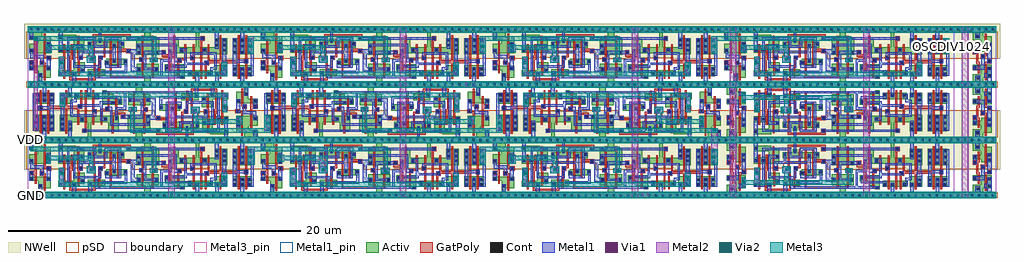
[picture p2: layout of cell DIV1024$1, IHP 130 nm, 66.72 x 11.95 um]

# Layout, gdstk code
from math import pi, radians
import gdstk
lib = gdstk.Library(unit=1e-6, precision=1e-09)
def R(c, l, rs):  # rectangles x0, y0, x1, y1
    for r in rs: c.add(gdstk.rectangle(r[:2], r[2:], *l))
def A(c, l, x, y, w, h, nx, ny, dx, dy):  # array of equal rectangles
    R(c, l, [(x+i*dx, y+j*dy, x+i*dx+w, y+j*dy+h) for i in range(nx) for j in range(ny)])
def P(c, l, *ps):  # polygons
    for p in ps: c.add(gdstk.Polygon(p, *l))
Activ = (1, 0)
GatPoly = (5, 0)
Cont = (6, 0)
Metal1 = (8, 0)
Metal1_pin = (8, 2)
Metal2 = (10, 0)
pSD = (14, 0)
Via1 = (19, 0)
Via2 = (29, 0)
Metal3 = (30, 0)
Metal3_pin = (30, 2)
NWell = (31, 0)
boundary = (189, 4)

sg13cmos5l_tiehi_1 = lib.new_cell('sg13cmos5l_tiehi$1')
P(sg13cmos5l_tiehi_1, Activ, [(0,-0.15),(0,0.15),(0.74,0.15),(0.74,0.975),(0.115,0.975),(0.115,1.275),(1.58,1.275),(1.58,0.48),(1.01,0.48),(1.01,0.15),(1.92,0.15),(1.92,-0.15)],
  [(0.115,2.145),(0.115,2.805),(0.705,2.805),(0.705,3.075),(0.115,3.075),(0.115,3.63),(0,3.63),(0,3.93),(1.92,3.93),(1.92,3.63),(1.02,3.63),(1.02,3.3),(1.58,3.3),(1.58,2.145)])
P(sg13cmos5l_tiehi_1, GatPoly, [(1.105,0.3),(1.105,1.345),(0.845,1.345),(0.845,1.645),(1.145,1.645),(1.145,1.49),(1.235,1.49),(1.235,0.3)],
  [(0.485,0.785),(0.485,1.355),(0.115,1.355),(0.115,1.655),(0.485,1.655),(0.485,2.995),(0.615,2.995),(0.615,0.785)],
  [(1.33,1.675),(1.33,1.83),(1.11,1.83),(1.11,3.49),(1.24,3.49),(1.24,1.975),(1.63,1.975),(1.63,1.675)])
R(sg13cmos5l_tiehi_1, Cont, [(0.16,-0.08,0.32,0.08), (0.16,-0.08,0.32,0.08), (0.64,-0.08,0.8,0.08), (0.64,-0.08,0.8,0.08), (1.12,-0.08,1.28,0.08), (1.12,-0.08,1.28,0.08), (1.6,-0.08,1.76,0.08), (1.6,-0.08,1.76,0.08), (0.81,0.55,0.97,0.71), (1.35,1.035,1.51,1.195), (0.185,1.045,0.345,1.205), (0.915,1.415,1.075,1.575), (0.185,1.425,0.345,1.585), (1.4,1.745,1.56,1.905), (1.35,2.215,1.51,2.375), (0.185,2.24,0.345,2.4), (1.35,2.655,1.51,2.815), (0.185,3.145,0.345,3.305), (0.16,3.7,0.32,3.86), (0.16,3.7,0.32,3.86), (0.64,3.7,0.8,3.86), (0.64,3.7,0.8,3.86), (1.12,3.7,1.28,3.86), (1.12,3.7,1.28,3.86), (1.6,3.7,1.76,3.86), (1.6,3.7,1.76,3.86)])
R(sg13cmos5l_tiehi_1, Metal1, [(1.3,0.985,1.575,1.955), (0.135,0.995,0.395,1.635), (1.3,2.165,1.585,2.91)])
P(sg13cmos5l_tiehi_1, Metal1, [(0.135,3.095),(0.135,3.56),(0,3.56),(0,4),(1.92,4),(1.92,3.56),(0.395,3.56),(0.395,3.095)],
  [(0,-0.22),(0,0.22),(0.76,0.22),(0.76,0.76),(1.02,0.76),(1.02,0.22),(1.92,0.22),(1.92,-0.22)],
  [(0.87,1.355),(0.87,1.815),(0.195,1.815),(0.195,2.19),(0.135,2.19),(0.135,2.45),(0.395,2.45),(0.395,2.03),(1.12,2.03),(1.12,1.355)])
R(sg13cmos5l_tiehi_1, Metal1_pin, [(0,-0.22,1.92,0.22), (1.3,2.165,1.585,2.91), (0,3.56,1.92,4)])
R(sg13cmos5l_tiehi_1, pSD, [(-0.07,-0.18,1.99,0.18), (-0.07,1.76,1.99,3.6)])
R(sg13cmos5l_tiehi_1, NWell, [(-0.24,1.75,2.16,4.17)])
R(sg13cmos5l_tiehi_1, boundary, [(0,0,1.92,3.78)])
sg13cmos5l_tiehi_1.add(gdstk.Label('VSS', (0.94,0), layer=8, texttype=25))
sg13cmos5l_tiehi_1.add(gdstk.Label('VDD', (0.985,3.785), layer=8, texttype=25))
sg13cmos5l_tiehi_1.add(gdstk.Label('L_HI', (1.443,2.52), layer=8, texttype=25))

sg13cmos5l_dfrbp_1_1 = lib.new_cell('sg13cmos5l_dfrbp_1$1')
R(sg13cmos5l_dfrbp_1_1, Activ, [(9.03,0.57,10.66,0.99), (10.87,0.57,11.725,1.31), (12.105,0.57,13.425,1.31), (2.215,0.635,3.4,1.055), (12.1,2.06,13.425,3.18), (0,3.63,13.92,3.93)])
P(sg13cmos5l_dfrbp_1_1, Activ, [(0.19,2.16),(0.19,2.58),(1.24,2.58),(1.24,3.01),(0.19,3.01),(0.19,3.395),(1.415,3.395),(1.415,3.16),(1.96,3.16),(1.96,2.16)],
  [(0.19,0.57),(0.19,0.99),(1.245,0.99),(1.245,1.535),(2,1.535),(2,0.795),(1.445,0.795),(1.445,0.57)],
  [(2.19,2.525),(2.19,2.945),(2.88,2.945),(2.88,3.14),(3.18,3.14),(3.18,2.945),(4.685,2.945),(4.685,2.525)],
  [(3.365,1.36),(3.365,1.66),(3.475,1.66),(3.475,1.78),(4.91,1.78),(4.91,1.36)],
  [(5.53,2.05),(5.53,3.17),(6.075,3.17),(6.075,3.63),(6.505,3.63),(6.505,3.17),(7.07,3.17),(7.07,2.05)],
  [(8.52,0.39),(8.52,0.635),(8.06,0.635),(8.06,0.955),(7.445,0.955),(7.445,1.375),(8.82,1.375),(8.82,0.39)],
  [(10.87,2.06),(10.87,2.145),(7.695,2.145),(7.695,3.145),(8.415,3.145),(8.415,2.565),(9.57,2.565),(9.57,3.63),(9.81,3.63),(9.81,2.565),(10.87,2.565),(10.87,3.18),(11.725,3.18),(11.725,2.06)],
  [(0,-0.15),(0,0.15),(6.075,0.15),(6.075,0.675),(5.535,0.675),(5.535,1.415),(7.045,1.415),(7.045,0.675),(6.505,0.675),(6.505,0.15),(13.92,0.15),(13.92,-0.15)])
R(sg13cmos5l_dfrbp_1_1, GatPoly, [(12.955,0.39,13.085,3.36), (12.87,1.445,13.17,1.745)])
P(sg13cmos5l_dfrbp_1_1, GatPoly, [(8.32,0.445),(8.32,1.805),(8.795,1.805),(8.795,2.745),(8.925,2.745),(8.925,1.66),(8.62,1.66),(8.62,1.505),(8.45,1.505),(8.45,0.445)],
  [(1.53,0.615),(1.53,1.685),(1.49,1.685),(1.49,3.34),(1.62,3.34),(1.62,1.985),(1.865,1.985),(1.865,1.685),(1.66,1.685),(1.66,0.615)],
  [(0.95,0.295),(0.95,1.98),(1.04,1.98),(1.04,2.76),(1.17,2.76),(1.17,1.685),(1.08,1.685),(1.08,0.43),(2.62,0.43),(2.62,1.685),(2.45,1.685),(2.45,1.985),(2.54,1.985),(2.54,3.435),(5.135,3.435),(5.135,3.005),(4.835,3.005),(4.835,3.305),(2.67,3.305),(2.67,1.985),(2.75,1.985),(2.75,0.295)],
  [(2.93,0.425),(2.93,1.985),(3.275,1.985),(3.275,3.125),(3.405,3.125),(3.405,1.855),(3.23,1.855),(3.23,1.685),(3.06,1.685),(3.06,0.425)],
  [(4.215,1.18),(4.215,3.125),(4.345,3.125),(4.345,2.44),(5.135,2.44),(5.135,2.14),(4.835,2.14),(4.835,2.29),(4.345,2.29),(4.345,1.18)],
  [(6.575,0.495),(6.575,3.35),(6.705,3.35),(6.705,1.855),(6.875,1.855),(6.875,1.555),(6.705,1.555),(6.705,0.495)],
  [(7.785,0.765),(7.785,1.92),(7.245,1.92),(7.245,2.35),(7.545,2.35),(7.545,2.07),(8.035,2.07),(8.035,3.325),(8.165,3.325),(8.165,1.92),(7.915,1.92),(7.915,0.765)],
  [(9.37,0.39),(9.37,1.67),(9.2,1.67),(9.2,1.97),(9.37,1.97),(9.37,2.745),(9.5,2.745),(9.5,0.39)],
  [(10.19,0.39),(10.19,1.635),(10.39,1.635),(10.39,2.745),(10.52,2.745),(10.52,1.635),(11.21,1.635),(11.21,3.36),(11.34,3.36),(11.34,1.635),(12.445,1.635),(12.445,3.36),(12.575,3.36),(12.575,0.39),(12.445,0.39),(12.445,1.45),(11.34,1.45),(11.34,0.39),(11.21,0.39),(11.21,1.45),(10.49,1.45),(10.49,1.335),(10.32,1.335),(10.32,0.39)],
  [(0.53,0.39),(0.53,1.455),(0.235,1.455),(0.235,1.755),(0.53,1.755),(0.53,2.76),(0.66,2.76),(0.66,0.39)],
  [(3.705,0.465),(3.705,3.125),(3.835,3.125),(3.835,0.605),(5.875,0.605),(5.875,1.555),(5.705,1.555),(5.705,1.855),(5.875,1.855),(5.875,3.35),(6.005,3.35),(6.005,0.465)],
  [(9.88,0.39),(9.88,3.305),(10.18,3.305),(10.18,3.005),(10.01,3.005),(10.01,0.39)])
A(sg13cmos5l_dfrbp_1_1, Cont, 0.16, -0.08, 0.16, 0.16, 29, 2, 0.48, 3.78)
A(sg13cmos5l_dfrbp_1_1, Cont, 10.43, 0.64, 0.16, 0.16, 3, 1, 0.51, 0)
A(sg13cmos5l_dfrbp_1_1, Cont, 12.175, 0.64, 0.16, 0.16, 3, 2, 0.51, 0.34)
A(sg13cmos5l_dfrbp_1_1, Cont, 12.17, 2.135, 0.16, 0.16, 1, 3, 0, 0.405)
A(sg13cmos5l_dfrbp_1_1, Cont, 12.685, 2.135, 0.16, 0.16, 1, 3, 0, 0.405)
A(sg13cmos5l_dfrbp_1_1, Cont, 13.195, 2.135, 0.16, 0.16, 1, 3, 0, 0.405)
A(sg13cmos5l_dfrbp_1_1, Cont, 11.45, 2.27, 0.16, 0.16, 1, 3, 0, 0.34)
R(sg13cmos5l_dfrbp_1_1, Cont, [(8.59,0.465,8.75,0.625), (0.26,0.64,0.42,0.8), (1.19,0.64,1.35,0.8), (9.1,0.64,9.26,0.8), (9.61,0.64,9.77,0.8), (2.285,0.705,2.445,0.865), (3.17,0.795,3.33,0.955), (1.77,0.88,1.93,1.04), (5.605,0.97,5.765,1.13), (6.815,0.97,6.975,1.13), (11.45,0.98,11.61,1.14), (7.515,1.075,7.675,1.235), (8.025,1.145,8.185,1.305), (10.26,1.405,10.42,1.565), (3.435,1.43,3.595,1.59), (4.68,1.49,4.84,1.65), (12.94,1.515,13.1,1.675), (0.305,1.525,0.465,1.685), (3.945,1.55,4.105,1.71), (8.39,1.575,8.55,1.735), (5.775,1.625,5.935,1.785), (6.645,1.625,6.805,1.785), (9.27,1.74,9.43,1.9), (1.635,1.755,1.795,1.915), (2.52,1.755,2.68,1.915), (3,1.755,3.16,1.915), (5.6,2.12,5.76,2.28), (6.84,2.12,7,2.28), (7.315,2.12,7.475,2.28), (4.905,2.21,5.065,2.37), (7.765,2.215,7.925,2.375), (8.525,2.275,8.685,2.435), (10.12,2.275,10.28,2.435), (0.26,2.29,0.42,2.45), (0.77,2.29,0.93,2.45), (5.6,2.54,5.76,2.7), (1.73,2.55,1.89,2.71), (3.945,2.595,4.105,2.755), (10.94,2.61,11.1,2.77), (2.26,2.69,2.42,2.85), (4.455,2.705,4.615,2.865), (2.95,2.91,3.11,3.07), (10.94,2.95,11.1,3.11), (4.905,3.075,5.065,3.235), (9.95,3.075,10.11,3.235), (0.265,3.12,0.425,3.28)])
R(sg13cmos5l_dfrbp_1_1, Metal1, [(0.255,1.07,0.6,1.89), (2.145,1.51,2.75,1.965), (6.45,1.52,6.99,1.84)])
P(sg13cmos5l_dfrbp_1_1, Metal1, [(2.705,0.44),(2.705,1.15),(1.98,1.15),(1.98,0.815),(1.72,0.815),(1.72,1.15),(1.2,1.15),(1.2,2.76),(1.94,2.76),(1.94,2.5),(1.36,2.5),(1.36,1.31),(2.95,1.31),(2.95,1.965),(3.21,1.965),(3.21,1.705),(3.11,1.705),(3.11,1.15),(2.875,1.15),(2.875,0.605),(7.17,0.605),(7.17,1.725),(7.745,1.725),(7.745,2.425),(7.935,2.425),(7.935,1.555),(7.33,1.555),(7.33,0.605),(8.54,0.605),(8.54,0.625),(8.8,0.625),(8.8,0.44)],
  [(3.895,1.5),(3.895,2.145),(1.845,2.145),(1.845,1.705),(1.585,1.705),(1.585,2.305),(2.245,2.305),(2.245,2.9),(2.425,2.9),(2.425,2.315),(3.895,2.315),(3.895,2.805),(4.115,2.805),(4.115,1.5)],
  [(3.12,0.785),(3.12,0.96),(4.725,0.96),(4.725,1.44),(4.66,1.44),(4.66,1.7),(4.905,1.7),(4.905,0.785)],
  [(9.05,0.59),(9.05,0.805),(7.51,0.805),(7.51,1.31),(7.725,1.31),(7.725,0.965),(9.31,0.965),(9.31,0.59)],
  [(7.96,1.145),(7.96,1.315),(8.79,1.315),(8.79,2.225),(8.475,2.225),(8.475,2.485),(8.95,2.485),(8.95,1.51),(10.165,1.51),(10.165,1.625),(10.47,1.625),(10.47,1.35),(8.97,1.35),(8.97,1.145)],
  [(11.4,0.59),(11.4,0.99),(11.34,0.99),(11.34,1.52),(11.4,1.52),(11.4,3.155),(11.66,3.155),(11.66,1.52),(11.725,1.52),(11.725,0.99),(11.66,0.99),(11.66,0.59)],
  [(12.63,2.1),(12.63,3.56),(11.15,3.56),(11.15,2.46),(10.89,2.46),(10.89,3.56),(3.115,3.56),(3.115,2.86),(2.945,2.86),(2.945,3.56),(0.475,3.56),(0.475,2.24),(0.215,2.24),(0.215,3.56),(0,3.56),(0,4),(13.92,4),(13.92,3.56),(12.9,3.56),(12.9,2.1)],
  [(5.145,0.92),(5.145,2.16),(4.855,2.16),(4.855,2.42),(5.55,2.42),(5.55,2.8),(8.275,2.8),(8.275,1.785),(8.6,1.785),(8.6,1.525),(8.115,1.525),(8.115,2.63),(5.81,2.63),(5.81,2.07),(5.42,2.07),(5.42,1.18),(5.815,1.18),(5.815,0.92)],
  [(0,-0.22),(0,0.22),(1.14,0.22),(1.14,0.85),(1.41,0.85),(1.41,0.22),(2.235,0.22),(2.235,0.915),(2.495,0.915),(2.495,0.22),(9.56,0.22),(9.56,0.85),(9.82,0.85),(9.82,0.22),(10.91,0.22),(10.91,0.85),(11.15,0.85),(11.15,0.22),(12.635,0.22),(12.635,1.19),(12.895,1.19),(12.895,0.22),(13.92,0.22),(13.92,-0.22)],
  [(0.21,0.59),(0.21,0.85),(0.785,0.85),(0.785,2.24),(0.72,2.24),(0.72,2.5),(0.785,2.5),(0.785,3.24),(2.765,3.24),(2.765,2.68),(3.365,2.68),(3.365,3.24),(4.505,3.24),(4.505,2.915),(4.665,2.915),(4.665,2.655),(4.48,2.655),(4.48,1.16),(3.385,1.16),(3.385,1.64),(3.645,1.64),(3.645,1.32),(4.32,1.32),(4.32,3.08),(3.535,3.08),(3.535,2.52),(2.605,2.52),(2.605,3.08),(0.95,3.08),(0.95,2.5),(0.98,2.5),(0.98,2.24),(0.95,2.24),(0.95,0.59)],
  [(6.755,0.92),(6.755,0.98),(6.02,0.98),(6.02,1.575),(5.725,1.575),(5.725,1.835),(6.02,1.835),(6.02,2.33),(7.525,2.33),(7.525,2.07),(6.18,2.07),(6.18,1.14),(6.755,1.14),(6.755,1.18),(6.99,1.18),(6.99,0.92)],
  [(4.855,3.025),(4.855,3.285),(5.115,3.285),(5.115,3.235),(9.91,3.235),(9.91,3.285),(10.16,3.285),(10.16,3.025),(9.91,3.025),(9.91,3.075),(5.115,3.075),(5.115,3.025)],
  [(13.125,0.59),(13.125,1.19),(13.35,1.19),(13.35,2.095),(13.145,2.095),(13.145,3.155),(13.56,3.155),(13.56,0.59)],
  [(12.125,0.59),(12.125,3.155),(12.385,3.155),(12.385,1.71),(12.87,1.71),(12.87,1.745),(13.17,1.745),(13.17,1.445),(12.87,1.445),(12.87,1.485),(12.385,1.485),(12.385,0.59)],
  [(10.38,0.625),(10.38,0.885),(10.57,0.885),(10.57,1.19),(10.84,1.19),(10.84,2.035),(9.48,2.035),(9.48,1.69),(9.22,1.69),(9.22,2.195),(10.07,2.195),(10.07,2.495),(10.33,2.495),(10.33,2.195),(11,2.195),(11,1.03),(10.73,1.03),(10.73,0.625)])
R(sg13cmos5l_dfrbp_1_1, Metal1_pin, [(0,-0.22,13.92,0.22), (11.34,0.99,11.725,1.52), (0.255,1.07,0.6,1.89), (2.145,1.51,2.75,1.965), (6.45,1.52,6.99,1.84), (13.145,2.095,13.56,3.155), (0,3.56,13.92,4)])
R(sg13cmos5l_dfrbp_1_1, pSD, [(-0.07,-0.18,14,0.18)])
P(sg13cmos5l_dfrbp_1_1, pSD, [(10.555,1.66),(10.555,1.76),(7.245,1.76),(7.245,1.75),(5.23,1.75),(5.23,2.225),(2.255,2.225),(2.255,1.835),(0.945,1.835),(0.945,1.76),(-0.07,1.76),(-0.07,3.6),(14,3.6),(14,1.76),(12.56,1.76),(12.56,1.66)])
P(sg13cmos5l_dfrbp_1_1, NWell, [(5.22,1.74),(5.22,2.215),(2.27,2.215),(2.27,1.85),(0.935,1.85),(0.935,1.75),(-0.24,1.75),(-0.24,4.17),(14.16,4.17),(14.16,1.75),(10.655,1.75),(10.655,1.835),(7.315,1.835),(7.315,1.74)])
R(sg13cmos5l_dfrbp_1_1, boundary, [(0,0,13.92,3.78)])
sg13cmos5l_dfrbp_1_1.add(gdstk.Label('VDD', (2.085,3.79), layer=8, texttype=25))
sg13cmos5l_dfrbp_1_1.add(gdstk.Label('RESET_B', (2.385,1.73), layer=8, texttype=25))
sg13cmos5l_dfrbp_1_1.add(gdstk.Label('Q', (13.34,2.61), layer=8, texttype=25))
sg13cmos5l_dfrbp_1_1.add(gdstk.Label('Q_N', (11.56,1.295), layer=8, texttype=25))
sg13cmos5l_dfrbp_1_1.add(gdstk.Label('D', (0.325,1.53), layer=8, texttype=25))
sg13cmos5l_dfrbp_1_1.add(gdstk.Label('VSS', (6.77,0), layer=8, texttype=25))
sg13cmos5l_dfrbp_1_1.add(gdstk.Label('CLK', (6.69,1.655), layer=8, texttype=25))

via_stack = lib.new_cell('via_stack')
R(via_stack, Metal1, [(-0.145,-0.105,0.145,0.105)])
R(via_stack, Metal2, [(-0.145,-0.1,0.145,0.1)])
R(via_stack, Via1, [(-0.095,-0.095,0.095,0.095)])
R(via_stack, Via2, [(-0.095,-0.095,0.095,0.095)])
R(via_stack, Metal3, [(-0.145,-0.1,0.145,0.1)])

via_stack_1 = lib.new_cell('via_stack$1')
R(via_stack_1, Metal2, [(-0.145,-0.1,0.145,0.1)])
R(via_stack_1, Via2, [(-0.095,-0.095,0.095,0.095)])
R(via_stack_1, Metal3, [(-0.145,-0.1,0.145,0.1)])

sg13cmos5l_tielo = lib.new_cell('sg13cmos5l_tielo')
P(sg13cmos5l_tielo, Activ, [(0,-0.15),(0,0.15),(0.295,0.15),(0.295,0.705),(0.835,0.705),(0.835,0.975),(0.295,0.975),(0.295,1.36),(1.585,1.36),(1.585,0.48),(1.015,0.48),(1.015,0.15),(1.92,0.15),(1.92,-0.15)],
  [(0.885,2.255),(0.885,2.47),(0.295,2.47),(0.295,2.77),(0.855,2.77),(0.855,3.04),(0.295,3.04),(0.295,3.63),(0,3.63),(0,3.93),(1.92,3.93),(1.92,3.63),(1.015,3.63),(1.015,3.3),(1.585,3.3),(1.585,2.255)])
P(sg13cmos5l_tielo, GatPoly, [(0.635,0.785),(0.635,1.44),(0.545,1.44),(0.545,2.09),(0.295,2.09),(0.295,2.39),(0.635,2.39),(0.635,2.96),(0.765,2.96),(0.765,2.26),(0.675,2.26),(0.675,1.57),(0.765,1.57),(0.765,0.785)],
  [(0.855,1.78),(0.855,2.08),(1.115,2.08),(1.115,3.49),(1.245,3.49),(1.245,1.935),(1.155,1.935),(1.155,1.815),(1.15,1.815),(1.15,1.81),(1.145,1.81),(1.145,1.805),(1.14,1.805),(1.14,1.8),(1.135,1.8),(1.135,1.795),(1.13,1.795),(1.13,1.79),(1.125,1.79),(1.125,1.785),(1.12,1.785),(1.12,1.78)],
  [(1.115,0.29),(1.115,1.57),(1.3,1.57),(1.3,1.705),(1.305,1.705),(1.305,1.71),(1.31,1.71),(1.31,1.715),(1.315,1.715),(1.315,1.72),(1.32,1.72),(1.32,1.725),(1.325,1.725),(1.325,1.73),(1.33,1.73),(1.33,1.735),(1.335,1.735),(1.335,1.74),(1.6,1.74),(1.6,1.44),(1.245,1.44),(1.245,0.29)])
R(sg13cmos5l_tielo, Cont, [(0.16,-0.08,0.32,0.08), (0.16,-0.08,0.32,0.08), (0.64,-0.08,0.8,0.08), (0.64,-0.08,0.8,0.08), (1.12,-0.08,1.28,0.08), (1.12,-0.08,1.28,0.08), (1.6,-0.08,1.76,0.08), (1.6,-0.08,1.76,0.08), (0.57,0.355,0.73,0.515), (1.355,0.55,1.515,0.71), (1.355,1.03,1.515,1.19), (0.365,1.09,0.525,1.25), (1.37,1.51,1.53,1.67), (0.925,1.85,1.085,2.01), (0.365,2.16,0.525,2.32), (1.355,2.325,1.515,2.485), (0.365,2.54,0.525,2.7), (1.355,2.665,1.515,2.825), (0.54,3.22,0.7,3.38), (0.16,3.7,0.32,3.86), (0.16,3.7,0.32,3.86), (0.64,3.7,0.8,3.86), (0.64,3.7,0.8,3.86), (1.12,3.7,1.28,3.86), (1.12,3.7,1.28,3.86), (1.6,3.7,1.76,3.86), (1.6,3.7,1.76,3.86)])
R(sg13cmos5l_tielo, Metal1, [(1.305,1.46,1.58,2.875), (0.315,2.11,0.575,2.76)])
P(sg13cmos5l_tielo, Metal1, [(0.315,1.03),(0.315,1.29),(0.875,1.29),(0.875,2.06),(1.115,2.06),(1.115,1.03)],
  [(0,-0.22),(0,0.22),(0.465,0.22),(0.465,0.605),(0.815,0.605),(0.815,0.22),(1.92,0.22),(1.92,-0.22)],
  [(0.455,3.165),(0.455,3.56),(0,3.56),(0,4),(1.92,4),(1.92,3.56),(0.78,3.56),(0.78,3.165)],
  [(1.095,0.485),(1.095,0.775),(1.295,0.775),(1.295,1.23),(1.585,1.23),(1.585,0.485)])
R(sg13cmos5l_tielo, Metal1_pin, [(0,-0.22,1.92,0.22), (1.295,0.485,1.585,1.23), (0,3.56,1.92,4)])
R(sg13cmos5l_tielo, pSD, [(-0.07,-0.18,1.99,0.18), (-0.07,1.76,1.99,3.6)])
R(sg13cmos5l_tielo, NWell, [(-0.24,1.75,2.16,4.17)])
R(sg13cmos5l_tielo, boundary, [(0,0,1.92,3.78)])
sg13cmos5l_tielo.add(gdstk.Label('VSS', (0.94,0), layer=8, texttype=25))
sg13cmos5l_tielo.add(gdstk.Label('VDD', (0.985,3.785), layer=8, texttype=25))
sg13cmos5l_tielo.add(gdstk.Label('L_LO', (1.435,1.02), layer=8, texttype=25))

via_stack_4 = lib.new_cell('via_stack$4')
R(via_stack_4, Metal1, [(-0.105,-0.35,0.105,0.35)])
R(via_stack_4, Metal2, [(-0.1,-0.35,0.1,0.35)])
R(via_stack_4, Via1, [(-0.095,-0.3,0.095,-0.11), (-0.095,0.11,0.095,0.3)])
R(via_stack_4, Via2, [(-0.095,-0.3,0.095,-0.11), (-0.095,0.11,0.095,0.3)])
R(via_stack_4, Metal3, [(-0.1,-0.35,0.1,0.35)])

via_stack_3 = lib.new_cell('via_stack$3')
R(via_stack_3, Metal1, [(-0.35,-0.105,0.35,0.105)])
R(via_stack_3, Metal2, [(-0.35,-0.1,0.35,0.1)])
R(via_stack_3, Via1, [(-0.3,-0.095,-0.11,0.095), (0.11,-0.095,0.3,0.095)])
R(via_stack_3, Via2, [(-0.3,-0.095,-0.11,0.095), (0.11,-0.095,0.3,0.095)])
R(via_stack_3, Metal3, [(-0.35,-0.1,0.35,0.1)])

via_stack_2 = lib.new_cell('via_stack$2')
R(via_stack_2, Metal1, [(-0.145,-0.105,0.145,0.105)])
R(via_stack_2, Metal2, [(-0.145,-0.1,0.145,0.1)])
R(via_stack_2, Via1, [(-0.095,-0.095,0.095,0.095)])

div1024_1 = lib.new_cell('DIV1024$1')
A(div1024_1, Activ, 63.6, 0.07, 0.96, 0.3, 1, 4, 0, 3.78)
A(div1024_1, Cont, 63.76, 0.14, 0.16, 0.16, 1, 4, 0, 3.78)
A(div1024_1, Cont, 64.24, 0.14, 0.16, 0.16, 1, 4, 0, 3.78)
A(div1024_1, Metal1, 63.6, 0, 0.96, 0.44, 1, 4, 0, 3.78)
R(div1024_1, Metal1, [(65.855,0,66.145,1.45), (51.74,5.815,52.44,6.27), (65.855,6.55,66.145,9.01)])
A(div1024_1, Metal1_pin, 63.6, 0, 0.96, 0.44, 1, 4, 0, 3.78)
A(div1024_1, Metal2, 13.5, 0.79, 0.385, 0.95, 3, 1, 15.84, 0)
A(div1024_1, Metal2, 11.41, 5.815, 0.605, 0.455, 3, 1, 15.84, 0)
A(div1024_1, Metal2, 13.56, 5.89, 0.345, 1.32, 3, 1, 15.84, 0)
A(div1024_1, Metal2, 7.17, 5.94, 0.54, 0.32, 3, 1, 15.84, 0)
A(div1024_1, Metal2, 2.435, 6.26, 0.385, 0.95, 3, 1, 15.84, 0)
A(div1024_1, Metal2, 2.37, 8.35, 0.39, 1.32, 3, 1, 15.84, 0)
A(div1024_1, Metal2, 13.5, 8.35, 0.385, 0.95, 4, 1, 15.84, 0)
A(div1024_1, Metal2, 4.305, 9.29, 0.605, 0.455, 4, 1, 15.84, 0)
A(div1024_1, Metal2, 8.61, 9.3, 0.54, 0.32, 4, 1, 15.84, 0)
A(div1024_1, Metal2, 15.305, 9.875, 0.415, 1.205, 3, 1, 15.84, 0)
R(div1024_1, Metal2, [(49.055,0.705,49.345,1.45), (2.37,0.79,2.76,2.11), (18.16,0.79,18.66,2.11), (34.05,0.79,34.44,2.11), (49.935,0.95,50.28,2.11), (18.16,1.29,18.66,2.11), (24.4,1.7,25,2.1), (4.305,1.73,4.91,2.185), (20.145,1.73,20.75,2.9), (35.985,1.73,36.59,2.185), (51.825,1.73,52.43,2.185), (8.61,1.74,9.15,2.06), (40.29,1.74,40.83,2.06), (56.13,1.74,56.67,2.06), (15.305,2.315,15.76,3.52), (31.145,2.315,31.56,3.52), (1.52,2.385,1.825,3), (33.1,2.385,33.6,3), (17.3,2.5,17.8,3), (16.44,4.48,16.855,5.685), (32.28,4.48,32.695,5.685), (46.175,5.015,46.485,5.615), (14.495,5.05,14.95,5.615), (30.335,5.055,30.8,5.615), (51.74,5.815,52.44,6.27), (49.935,5.89,50.28,6.75), (56.07,5.9,56.7,6.3), (49.055,6.55,49.345,7.295), (30.2,7.56,30.895,8), (49.935,8.35,50.28,9.67), (62.825,9.875,63.24,10.935), (17.305,9.945,17.7,10.55), (33.065,9.945,33.6,10.545), (49,9.945,49.4,10.5), (1.47,9.95,1.9,10.525)])
R(div1024_1, pSD, [(63.68,0.04,64.49,0.4), (63.68,1.98,64.49,3.82), (63.68,4.18,64.49,6.02), (63.68,7.6,64.49,7.96), (63.68,9.54,64.49,11.38)])
A(div1024_1, Metal3, 13.5, 0.79, 0.385, 0.95, 3, 1, 15.84, 0)
A(div1024_1, Metal3, 11.41, 5.815, 0.605, 0.455, 3, 1, 15.84, 0)
A(div1024_1, Metal3, 13.56, 5.89, 0.345, 1.32, 3, 1, 15.84, 0)
A(div1024_1, Metal3, 7.17, 5.94, 0.54, 0.32, 3, 1, 15.84, 0)
A(div1024_1, Metal3, 2.435, 6.26, 0.385, 0.95, 3, 1, 15.84, 0)
A(div1024_1, Metal3, 2.37, 8.35, 0.39, 1.32, 3, 1, 15.84, 0)
A(div1024_1, Metal3, 13.5, 8.35, 0.385, 0.95, 4, 1, 15.84, 0)
A(div1024_1, Metal3, 4.305, 9.29, 0.605, 0.455, 4, 1, 15.84, 0)
A(div1024_1, Metal3, 8.61, 9.3, 0.54, 0.32, 4, 1, 15.84, 0)
A(div1024_1, Metal3, 15.305, 9.875, 0.415, 1.205, 3, 1, 15.84, 0)
R(div1024_1, Metal3, [(47.76,0,66.48,0.44), (49.055,0.705,49.345,1.45), (2.37,0.79,2.76,2.11), (18.16,0.79,18.66,2.11), (34.05,0.79,34.44,2.11), (49.935,0.95,50.28,2.11), (18.16,1.29,18.66,2.11), (24.4,1.7,25,2.1), (4.305,1.73,4.91,2.185), (20.145,1.73,20.75,2.9), (35.985,1.73,36.59,2.185), (51.825,1.73,52.43,2.185), (8.61,1.74,9.15,2.06), (40.29,1.74,40.835,2.06), (56.13,1.74,56.67,2.06), (15.305,2.315,15.76,3.52), (31.145,2.315,31.56,3.52), (46.97,2.315,47.41,3.375), (1.52,2.385,1.825,3), (33.1,2.385,33.6,3), (17.3,2.5,17.8,3), (47.76,3.78,66.48,4.22), (16.44,4.48,16.855,5.685), (32.28,4.48,32.695,5.685), (46.175,5.015,46.485,5.615), (14.495,5.05,14.95,5.615), (30.335,5.055,30.8,5.615), (51.74,5.815,52.44,6.27), (49.935,5.89,50.28,6.75), (56.07,5.9,56.7,6.3), (49.055,6.55,49.345,7.295), (63.6,7.56,66.48,8), (49.935,8.35,50.28,9.67), (62.825,9.875,63.24,10.935), (1.47,9.945,1.9,10.525), (17.305,9.945,17.7,10.55), (33.065,9.945,33.6,10.545), (49,9.945,49.4,10.5), (63.6,11.34,66.48,11.78)])
R(div1024_1, Metal3_pin, [(0.24,0,66.48,0.44), (0.42,3.22,0.9,3.52), (0.24,3.78,66.48,4.22), (0.24,7.56,63.6,8), (63.6,7.56,66.48,8), (63.3,10.25,63.6,10.55), (0.24,11.34,63.6,11.78), (63.6,11.34,66.48,11.78)])
R(div1024_1, NWell, [(63.84,1.97,64.32,4.39), (63.84,3.61,64.32,6.03), (63.84,9.53,64.32,11.95)])
div1024_1.add(gdstk.FlexPath([(64.32,11.78),(64.32,0),(64.32,0)], 0.44, ends="flush", simple_path=True, layer=10, datatype=0))  # Metal2
div1024_1.add(gdstk.FlexPath([(48.46,11.78),(48.46,0),(48.46,0)], 0.44, ends="flush", simple_path=True, layer=10, datatype=0))  # Metal2
div1024_1.add(gdstk.FlexPath([(10.08,11.78),(10.08,0),(10.08,0)], 0.44, ends="flush", simple_path=True, layer=10, datatype=0))  # Metal2
div1024_1.add(gdstk.FlexPath([(25.92,11.78),(25.92,0)], 0.44, ends="flush", simple_path=True, layer=10, datatype=0))  # Metal2
div1024_1.add(gdstk.FlexPath([(41.76,11.78),(41.76,0),(41.76,0)], 0.44, ends="flush", simple_path=True, layer=10, datatype=0))  # Metal2
div1024_1.add(gdstk.FlexPath([(57.6,11.78),(57.6,0)], 0.44, ends="flush", simple_path=True, layer=10, datatype=0))  # Metal2
div1024_1.add(gdstk.FlexPath([(42.46,0.44),(42.46,0)], 0.44, ends="flush", simple_path=True, layer=10, datatype=0))  # Metal2
div1024_1.add(gdstk.FlexPath([(47.19,2.315),(47.19,4.78)], 0.44, ends="flush", simple_path=True, layer=10, datatype=0))  # Metal2
div1024_1.add(gdstk.FlexPath([(0.8,4.625),(0.8,11.08),(0.8,11.08),(0.8,11.08),(0.8,11.08)], 0.3, ends="flush", simple_path=True, layer=10, datatype=0))  # Metal2
div1024_1.add(gdstk.FlexPath([(49.055,1.1),(52.125,1.1),(52.125,2.185)], 0.3, ends="flush", simple_path=True, layer=30, datatype=0))  # Metal3
div1024_1.add(gdstk.FlexPath([(49.055,1.1),(50.11,1.1),(50.11,2.11)], 0.3, ends="flush", simple_path=True, layer=30, datatype=0))  # Metal3
div1024_1.add(gdstk.FlexPath([(49.055,6.9),(52.125,6.9),(52.125,5.815)], 0.3, ends="flush", simple_path=True, layer=30, datatype=0))  # Metal3
div1024_1.add(gdstk.FlexPath([(49.055,6.9),(50.11,6.9),(50.11,5.89)], 0.3, ends="flush", simple_path=True, layer=30, datatype=0))  # Metal3
div1024_1.add(gdstk.FlexPath([(52.125,1.1),(56.41,1.1),(56.41,2.06)], 0.3, ends="flush", simple_path=True, layer=30, datatype=0))  # Metal3
div1024_1.add(gdstk.FlexPath([(52.125,6.9),(56.41,6.9),(56.41,5.94)], 0.3, ends="flush", simple_path=True, layer=30, datatype=0))  # Metal3
div1024_1.add(gdstk.FlexPath([(63.6,10.4),(62.825,10.4)], 0.3, ends="flush", simple_path=True, layer=30, datatype=0))  # Metal3
div1024_1.add(gdstk.FlexPath([(0.24,4),(47.76,4)], 0.44, ends="flush", simple_path=True, layer=30, datatype=0))  # Metal3
div1024_1.add(gdstk.FlexPath([(0.24,11.56),(63.6,11.56)], 0.44, ends="flush", simple_path=True, layer=30, datatype=0))  # Metal3
div1024_1.add(gdstk.FlexPath([(63.6,7.78),(0.24,7.78)], 0.44, ends="flush", simple_path=True, layer=30, datatype=0))  # Metal3
div1024_1.add(gdstk.FlexPath([(47.76,0.22),(0.24,0.22)], 0.44, ends="flush", simple_path=True, layer=30, datatype=0))  # Metal3
div1024_1.add(gdstk.FlexPath([(39.115,6.26),(39.115,4.63),(47.41,4.63)], 0.3, ends="flush", simple_path=True, layer=30, datatype=0))  # Metal3
div1024_1.add(gdstk.FlexPath([(8.89,1.74),(8.89,3.37),(0.42,3.37)], 0.3, ends="flush", simple_path=True, layer=30, datatype=0))  # Metal3
div1024_1.add(gdstk.FlexPath([(34.275,2.11),(34.275,0.94),(45.385,0.94),(45.385,1.74)], 0.3, ends="flush", simple_path=True, layer=30, datatype=0))  # Metal3
div1024_1.add(gdstk.FlexPath([(2.585,2.11),(2.585,0.94),(13.695,0.94),(13.695,1.74)], 0.3, ends="flush", simple_path=True, layer=30, datatype=0))  # Metal3
div1024_1.add(gdstk.FlexPath([(4.6,1.73),(4.6,2.75),(1.535,2.75)], 0.3, ends="flush", simple_path=True, layer=30, datatype=0))  # Metal3
div1024_1.add(gdstk.FlexPath([(18.425,2.11),(18.425,0.94),(29.535,0.94),(29.535,1.74)], 0.3, ends="flush", simple_path=True, layer=30, datatype=0))  # Metal3
div1024_1.add(gdstk.FlexPath([(20.44,1.73),(20.44,2.75),(17.375,2.75)], 0.3, ends="flush", simple_path=True, layer=30, datatype=0))  # Metal3
div1024_1.add(gdstk.FlexPath([(36.29,1.73),(36.29,2.75),(33.225,2.75)], 0.3, ends="flush", simple_path=True, layer=30, datatype=0))  # Metal3
div1024_1.add(gdstk.FlexPath([(15.525,2.315),(15.525,3.37),(24.73,3.37),(24.73,1.74),(24.73,1.74)], 0.3, ends="flush", simple_path=True, layer=30, datatype=0))  # Metal3
div1024_1.add(gdstk.FlexPath([(31.375,2.315),(31.375,3.37),(40.58,3.37),(40.58,1.74),(40.58,1.74)], 0.3, ends="flush", simple_path=True, layer=30, datatype=0))  # Metal3
div1024_1.add(gdstk.FlexPath([(2.585,9.67),(2.585,8.5),(13.695,8.5),(13.695,9.3)], 0.3, ends="flush", simple_path=True, layer=30, datatype=0))  # Metal3
div1024_1.add(gdstk.FlexPath([(4.6,9.29),(4.6,10.31),(1.535,10.31)], 0.3, ends="flush", simple_path=True, layer=30, datatype=0))  # Metal3
div1024_1.add(gdstk.FlexPath([(18.425,9.67),(18.425,8.5),(29.535,8.5),(29.535,9.3)], 0.3, ends="flush", simple_path=True, layer=30, datatype=0))  # Metal3
div1024_1.add(gdstk.FlexPath([(20.44,9.29),(20.44,10.31),(17.375,10.31)], 0.3, ends="flush", simple_path=True, layer=30, datatype=0))  # Metal3
div1024_1.add(gdstk.FlexPath([(15.525,9.875),(15.525,10.93),(24.73,10.93),(24.73,9.3),(24.73,9.3)], 0.3, ends="flush", simple_path=True, layer=30, datatype=0))  # Metal3
div1024_1.add(gdstk.FlexPath([(34.26,9.67),(34.26,8.5),(45.37,8.5),(45.37,9.3)], 0.3, ends="flush", simple_path=True, layer=30, datatype=0))  # Metal3
div1024_1.add(gdstk.FlexPath([(36.275,9.29),(36.275,10.31),(33.21,10.31)], 0.3, ends="flush", simple_path=True, layer=30, datatype=0))  # Metal3
div1024_1.add(gdstk.FlexPath([(31.36,9.875),(31.36,10.93),(40.565,10.93),(40.565,9.3),(40.565,9.3)], 0.3, ends="flush", simple_path=True, layer=30, datatype=0))  # Metal3
div1024_1.add(gdstk.FlexPath([(50.1,9.67),(50.1,8.5),(61.21,8.5),(61.21,9.3)], 0.3, ends="flush", simple_path=True, layer=30, datatype=0))  # Metal3
div1024_1.add(gdstk.FlexPath([(52.115,9.29),(52.115,10.31),(49.05,10.31)], 0.3, ends="flush", simple_path=True, layer=30, datatype=0))  # Metal3
div1024_1.add(gdstk.FlexPath([(47.2,9.875),(47.2,10.93),(56.405,10.93),(56.405,9.3),(56.405,9.3)], 0.3, ends="flush", simple_path=True, layer=30, datatype=0))  # Metal3
div1024_1.add(gdstk.FlexPath([(45.42,5.89),(45.42,7.06),(34.31,7.06),(34.31,6.26)], 0.3, ends="flush", simple_path=True, layer=30, datatype=0))  # Metal3
div1024_1.add(gdstk.FlexPath([(43.405,6.27),(43.405,5.25),(46.47,5.25)], 0.3, ends="flush", simple_path=True, layer=30, datatype=0))  # Metal3
div1024_1.add(gdstk.FlexPath([(8.89,9.3),(8.89,10.93),(0.65,10.93)], 0.3, ends="flush", simple_path=True, layer=30, datatype=0))  # Metal3
div1024_1.add(gdstk.FlexPath([(29.58,5.89),(29.58,7.06),(18.47,7.06),(18.47,6.26)], 0.3, ends="flush", simple_path=True, layer=30, datatype=0))  # Metal3
div1024_1.add(gdstk.FlexPath([(27.565,6.27),(27.565,5.25),(30.63,5.25)], 0.3, ends="flush", simple_path=True, layer=30, datatype=0))  # Metal3
div1024_1.add(gdstk.FlexPath([(32.48,5.685),(32.48,4.63),(23.275,4.63),(23.275,6.26),(23.275,6.26)], 0.3, ends="flush", simple_path=True, layer=30, datatype=0))  # Metal3
div1024_1.add(gdstk.FlexPath([(13.735,5.89),(13.735,7.06),(2.625,7.06),(2.625,6.26)], 0.3, ends="flush", simple_path=True, layer=30, datatype=0))  # Metal3
div1024_1.add(gdstk.FlexPath([(11.72,6.27),(11.72,5.25),(14.785,5.25)], 0.3, ends="flush", simple_path=True, layer=30, datatype=0))  # Metal3
div1024_1.add(gdstk.FlexPath([(16.635,5.685),(16.635,4.63),(7.43,4.63),(7.43,6.26),(7.43,6.26)], 0.3, ends="flush", simple_path=True, layer=30, datatype=0))  # Metal3
div1024_1.add(gdstk.Reference(sg13cmos5l_tiehi_1, (31.92,0.22)))
div1024_1.add(gdstk.Reference(sg13cmos5l_dfrbp_1_1, (45.84,7.78), rotation=pi))
div1024_1.add(gdstk.Reference(sg13cmos5l_tiehi_1, (31.92,7.78)))
div1024_1.add(gdstk.Reference(via_stack, (33.37,2.75)))
div1024_1.add(gdstk.Reference(via_stack, (33.355,10.31)))
div1024_1.add(gdstk.Reference(sg13cmos5l_tiehi_1, (47.76,7.78), rotation=pi))
div1024_1.add(gdstk.Reference(via_stack, (45.38,1.465)))
div1024_1.add(gdstk.Reference(via_stack, (34.27,1.7)))
div1024_1.add(gdstk.Reference(via_stack, (40.565,9.46)))
div1024_1.add(gdstk.Reference(via_stack, (36.27,9.51)))
div1024_1.add(gdstk.Reference(sg13cmos5l_dfrbp_1_1, (33.84,0.22)))
div1024_1.add(gdstk.Reference(via_stack, (45.365,9.025)))
div1024_1.add(gdstk.Reference(via_stack, (34.255,9.26)))
div1024_1.add(gdstk.Reference(via_stack, (56.405,9.46)))
div1024_1.add(gdstk.Reference(via_stack, (52.11,9.51)))
div1024_1.add(gdstk.Reference(via_stack, (49.195,10.31)))
div1024_1.add(gdstk.Reference(via_stack, (61.205,9.025)))
div1024_1.add(gdstk.Reference(via_stack, (50.095,9.26)))
div1024_1.add(gdstk.Reference(via_stack, (47.2,10.41)))
div1024_1.add(gdstk.Reference(via_stack, (39.115,6.1), rotation=pi))
div1024_1.add(gdstk.Reference(via_stack, (43.41,6.05), rotation=pi))
div1024_1.add(gdstk.Reference(via_stack, (46.325,5.25), rotation=pi))
div1024_1.add(gdstk.Reference(via_stack, (34.315,6.535), rotation=pi))
div1024_1.add(gdstk.Reference(via_stack, (45.425,6.3), rotation=pi))
div1024_1.add(gdstk.Reference(via_stack, (47.195,2.825)))
div1024_1.add(gdstk.Reference(via_stack, (63.055,10.4)))
div1024_1.add(gdstk.Reference(via_stack, (41.76,0.22)))
div1024_1.add(gdstk.Reference(via_stack, (41.76,7.78)))
div1024_1.add(gdstk.Reference(via_stack, (57.6,7.78)))
div1024_1.add(gdstk.Reference(via_stack, (57.6,0.22)))
div1024_1.add(gdstk.Reference(via_stack_1, (47.19,4.63)))
div1024_1.add(gdstk.Reference(sg13cmos5l_tiehi_1, (47.76,7.78)))
div1024_1.add(gdstk.Reference(sg13cmos5l_dfrbp_1_1, (49.68,7.78)))
div1024_1.add(gdstk.Reference(sg13cmos5l_dfrbp_1_1, (33.84,7.78)))
div1024_1.add(gdstk.Reference(sg13cmos5l_dfrbp_1_1, (49.68,7.78), x_reflection=True))
div1024_1.add(gdstk.Reference(sg13cmos5l_dfrbp_1_1, (49.68,0.22)))
div1024_1.add(gdstk.Reference(sg13cmos5l_tielo, (47.76,7.78), x_reflection=True))
div1024_1.add(gdstk.Reference(sg13cmos5l_tielo, (47.76,0.22)))
div1024_1.add(gdstk.Reference(via_stack, (48.46,4), rotation=pi))
div1024_1.add(gdstk.Reference(via_stack, (48.46,11.56), rotation=pi))
div1024_1.add(gdstk.Reference(via_stack, (49.2,1.095)))
div1024_1.add(gdstk.Reference(via_stack, (50.11,1.7)))
div1024_1.add(gdstk.Reference(via_stack, (52.125,1.975)))
r = gdstk.Reference(via_stack_4, (49.205,6.9)); r.repetition = gdstk.Repetition(1, 1, v1=(0,0), v2=(0,0)); div1024_1.add(r)
r = gdstk.Reference(via_stack_4, (50.11,6.275)); r.repetition = gdstk.Repetition(1, 1, v1=(0,0), v2=(0,0)); div1024_1.add(r)
r = gdstk.Reference(via_stack_3, (52.09,6.03)); r.repetition = gdstk.Repetition(1, 1, v1=(0,0), v2=(0,0)); div1024_1.add(r)
div1024_1.add(gdstk.Reference(via_stack, (56.41,1.9)))
div1024_1.add(gdstk.Reference(via_stack, (56.41,6.1), x_reflection=True))
div1024_1.add(gdstk.Reference(sg13cmos5l_tielo, (64.56,7.78)))
div1024_1.add(gdstk.Reference(sg13cmos5l_tielo, (64.56,7.78), x_reflection=True))
div1024_1.add(gdstk.Reference(sg13cmos5l_tielo, (64.56,0.22)))
div1024_1.add(gdstk.Reference(via_stack, (64.32,4), rotation=pi))
div1024_1.add(gdstk.Reference(via_stack, (64.32,11.56), rotation=pi))
div1024_1.add(gdstk.Reference(via_stack, (40.58,1.9)))
div1024_1.add(gdstk.Reference(via_stack, (36.285,1.95)))
div1024_1.add(gdstk.Reference(via_stack, (11.725,6.05), rotation=pi))
div1024_1.add(gdstk.Reference(via_stack, (14.64,5.25), rotation=pi))
div1024_1.add(gdstk.Reference(via_stack, (2.63,6.535), rotation=pi))
div1024_1.add(gdstk.Reference(via_stack, (13.74,6.3), rotation=pi))
div1024_1.add(gdstk.Reference(via_stack, (16.635,5.15), rotation=pi))
div1024_1.add(gdstk.Reference(via_stack, (18.42,1.7)))
div1024_1.add(gdstk.Reference(via_stack_1, (0.8,10.93)))
div1024_1.add(gdstk.Reference(via_stack, (15.525,2.85)))
div1024_1.add(gdstk.Reference(via_stack, (30.46,7.78), rotation=pi))
div1024_1.add(gdstk.Reference(via_stack, (25.92,11.56)))
div1024_1.add(gdstk.Reference(via_stack, (25.92,4)))
div1024_1.add(gdstk.Reference(sg13cmos5l_dfrbp_1_1, (30,7.78), rotation=pi))
div1024_1.add(gdstk.Reference(sg13cmos5l_tiehi_1, (16.08,7.78), rotation=pi))
div1024_1.add(gdstk.Reference(sg13cmos5l_dfrbp_1_1, (14.16,7.78), rotation=pi))
div1024_1.add(gdstk.Reference(via_stack, (31.375,2.85)))
div1024_1.add(gdstk.Reference(via_stack, (8.89,9.46)))
div1024_1.add(gdstk.Reference(via_stack, (4.595,9.51)))
div1024_1.add(gdstk.Reference(via_stack, (1.68,10.31)))
div1024_1.add(gdstk.Reference(via_stack, (13.69,9.025)))
div1024_1.add(gdstk.Reference(via_stack, (2.58,9.26)))
div1024_1.add(gdstk.Reference(via_stack, (24.73,9.46)))
div1024_1.add(gdstk.Reference(via_stack, (20.435,9.51)))
div1024_1.add(gdstk.Reference(via_stack, (17.52,10.31)))
div1024_1.add(gdstk.Reference(via_stack, (29.53,9.025)))
div1024_1.add(gdstk.Reference(via_stack, (18.42,9.26)))
div1024_1.add(gdstk.Reference(via_stack, (15.525,10.41)))
div1024_1.add(gdstk.Reference(sg13cmos5l_dfrbp_1_1, (2.16,7.78)))
div1024_1.add(gdstk.Reference(sg13cmos5l_tiehi_1, (16.08,7.78)))
div1024_1.add(gdstk.Reference(via_stack, (10.08,0.22)))
div1024_1.add(gdstk.Reference(sg13cmos5l_dfrbp_1_1, (2.16,0.22)))
div1024_1.add(gdstk.Reference(sg13cmos5l_tiehi_1, (0.24,7.78)))
div1024_1.add(gdstk.Reference(via_stack, (31.36,10.41)))
div1024_1.add(gdstk.Reference(sg13cmos5l_tiehi_1, (0.24,0.22)))
div1024_1.add(gdstk.Reference(sg13cmos5l_tiehi_1, (16.08,0.22)))
div1024_1.add(gdstk.Reference(via_stack, (8.89,1.9)))
div1024_1.add(gdstk.Reference(via_stack, (4.595,1.95)))
div1024_1.add(gdstk.Reference(via_stack, (1.68,2.75)))
div1024_1.add(gdstk.Reference(via_stack, (13.69,1.465)))
div1024_1.add(gdstk.Reference(via_stack, (2.58,1.7)))
div1024_1.add(gdstk.Reference(via_stack, (24.73,1.9)))
div1024_1.add(gdstk.Reference(via_stack, (20.435,1.95)))
div1024_1.add(gdstk.Reference(via_stack, (17.52,2.75)))
div1024_1.add(gdstk.Reference(via_stack, (29.53,1.465)))
div1024_1.add(gdstk.Reference(via_stack_2, (0.8,5.175)))
div1024_1.add(gdstk.Reference(via_stack, (23.275,6.1), rotation=pi))
div1024_1.add(gdstk.Reference(via_stack, (27.57,6.05), rotation=pi))
div1024_1.add(gdstk.Reference(via_stack, (30.485,5.25), rotation=pi))
div1024_1.add(gdstk.Reference(via_stack, (18.475,6.535), rotation=pi))
div1024_1.add(gdstk.Reference(via_stack, (29.585,6.3), rotation=pi))
div1024_1.add(gdstk.Reference(via_stack, (10.08,7.78)))
div1024_1.add(gdstk.Reference(sg13cmos5l_tiehi_1, (31.92,7.78), rotation=pi))
div1024_1.add(gdstk.Reference(sg13cmos5l_dfrbp_1_1, (18,7.78)))
div1024_1.add(gdstk.Reference(via_stack, (32.48,5.15), rotation=pi))
div1024_1.add(gdstk.Reference(sg13cmos5l_dfrbp_1_1, (18,0.22)))
div1024_1.add(gdstk.Reference(via_stack, (7.43,6.1), rotation=pi))
div1024_1.add(gdstk.Label('GND', (0.485,0.22), layer=8, texttype=2))
div1024_1.add(gdstk.Label('VSS', (0.47,0.22), layer=30, texttype=25))
div1024_1.add(gdstk.Label('VDD', (0.455,4.005), layer=30, texttype=25))
div1024_1.add(gdstk.Label('OSC', (0.59,3.375), layer=30, texttype=25))
div1024_1.add(gdstk.Label('OSCDIV1024', (63.375,10.4), layer=30, texttype=25))

lib.write_gds('DIV1024_1.gds')
